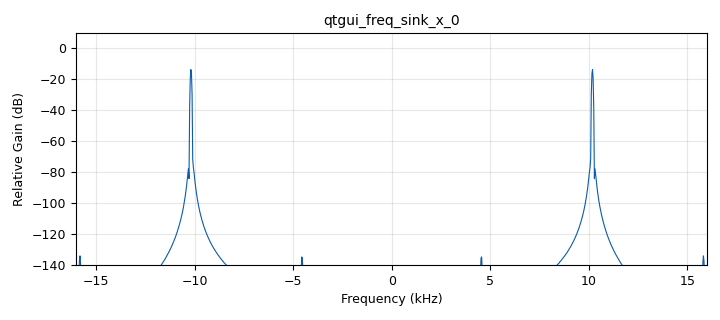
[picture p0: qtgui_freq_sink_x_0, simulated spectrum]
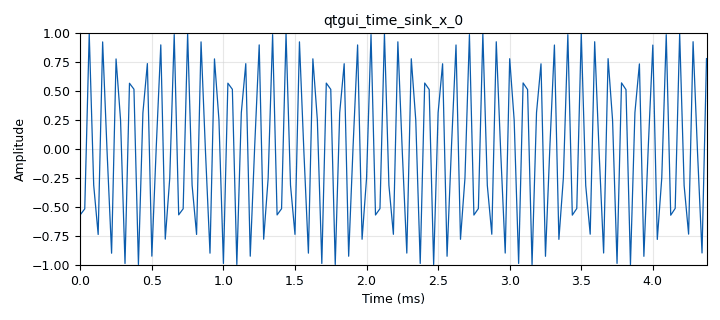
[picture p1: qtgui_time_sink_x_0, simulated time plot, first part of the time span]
options:
  parameters:
    author: Etudiant
    generate_options: qt_gui
    id: essai
    output_language: python
    title: Not titled yet
  states: {}

blocks:
- name: floatToNumber
  id: variable
  parameters:
    value: int(20364.4)
  states: {}
- name: frequency
  id: variable
  parameters:
    value: sample_rate/2
  states: {}
- name: list_variable
  id: variable
  parameters:
    value: '[1,2,2.5]'
  states: {}
- name: liste_comprehension
  id: variable
  parameters:
    value: '[(i+1) *2  for i in list_variable]'
  states: {}
- name: samp_rate
  id: variable
  parameters:
    value: '32000'
  states: {}
- name: sample_rate
  id: variable
  parameters:
    value: int(20364.4)
  states: {}
- name: tuple_variable
  id: variable
  parameters:
    value: (1,2,3)
  states: {}
- name: variable_qtgui_chooser_0
  id: variable_qtgui_chooser
  parameters:
    num_opts: '3'
    option0: '0'
    option1: '1'
    option2: '2'
    type: int
    value: '0'
  states: {}
- name: variable_qtgui_range_0
  id: variable_qtgui_range
  parameters:
    start: '-sample_rate/2'
    step: '1'
    stop: sample_rate/2
    value: '50'
  states: {}
- name: analog_sig_source_x_0
  id: analog_sig_source_x
  parameters:
    amp: '1'
    freq: frequency
    offset: '0'
    phase: '0'
    samp_rate: samp_rate
    type: float
    waveform: analog.GR_COS_WAVE
  states: {}
- name: blocks_throttle2_0
  id: blocks_throttle2
  parameters:
    samples_per_second: samp_rate
    type: float
  states: {}
- name: qtgui_freq_sink_x_0
  id: qtgui_freq_sink_x
  parameters:
    bw: samp_rate
    fc: '0'
    fftsize: '1024'
    type: float
    wintype: window.WIN_BLACKMAN
  states: {}
- name: qtgui_time_sink_x_0
  id: qtgui_time_sink_x
  parameters:
    size: '8192'
    srate: samp_rate
    type: float
  states: {}

connections:
- [analog_sig_source_x_0, '0', blocks_throttle2_0, '0']
- [blocks_throttle2_0, '0', qtgui_freq_sink_x_0, '0']
- [blocks_throttle2_0, '0', qtgui_time_sink_x_0, '0']

metadata:
  file_format: 1
  grc_version: 3.10.12.0
